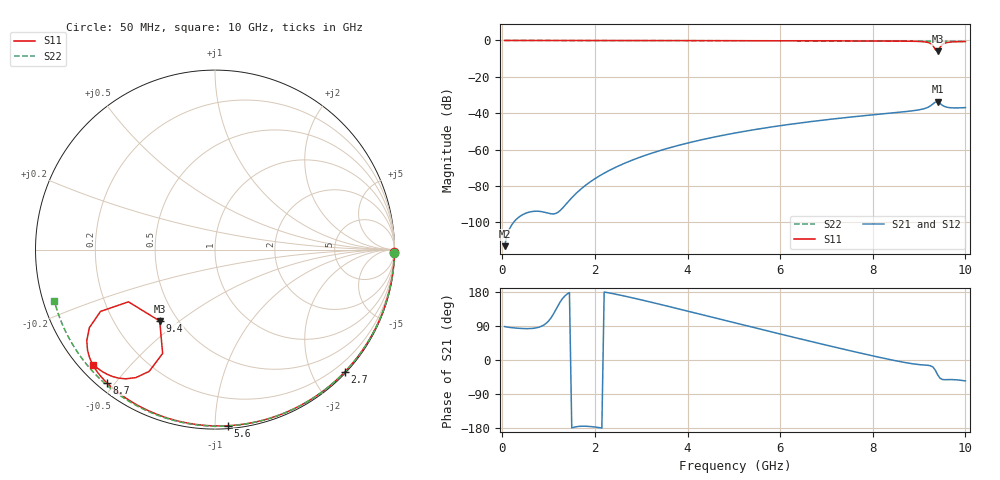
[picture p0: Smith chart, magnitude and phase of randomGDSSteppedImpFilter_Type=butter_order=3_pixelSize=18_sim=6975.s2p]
! freq	dB(S11)	phase(S11)	dB(S12)	phase(S12)
!  dB(S21)	phase(S21)	dB(S22)	phase(S22)
!S-par simulation data
#  GHz  S  DB  R 50
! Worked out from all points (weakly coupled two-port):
!   200 points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, 50 MHz to 10 GHz, reference 50 ohm
!   highest |S21| = -33.72 dB at 9.4 GHz (marker M1); lowest = -113.0 dB at 50 MHz (marker M2)
!   lowest |S11| = -6.0 dB at 9.4 GHz (marker M3), VSWR 3.03, Z = 20 - j21.3 ohm
!   |S11| at or under -10 dB: nowhere
!   |S22| runs from -0.5 to 0.0 dB; largest |S21 - S12| = 0
!   S11 on the Smith chart (normalised r, x): 50 MHz: open; 2.7 GHz: 0.02, -2.52; 5.6 GHz: 0.02, -1.08; 8.7 GHz: 0.03, -0.47; 9.4 GHz: 0.40, -0.43; 10 GHz: 0.04, -0.40
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0.05  -0.00 -0.8  -113.02 88.2  -113.02 88.2  -0.00 -0.9
0.85  -0.02 -13.9  -94.05 89.3  -94.05 89.3  -0.02 -15.8
1.75  -0.04 -28.4  -80.54 -174.6  -80.54 -174.6  -0.04 -32.2
2.25  -0.05 -36.3  -72.22 178.4  -72.22 178.4  -0.05 -41.1
2.7  -0.06 -43.3  -66.84 167.1  -66.84 167.1  -0.06 -49.0
3.4  -0.07 -54.0  -60.54 147.1  -60.54 147.1  -0.08 -61.1
4.15  -0.09 -65.1  -55.46 124.5  -55.46 124.5  -0.10 -73.6
5.05  -0.12 -78.1  -50.73 97.2  -50.73 97.2  -0.14 -88.0
5.6  -0.14 -85.8  -48.37 80.6  -48.37 80.6  -0.16 -96.6
6.7  -0.20 -100.8  -44.46 47.9  -44.46 47.9  -0.22 -113.3
8.35  -0.33 -123.5  -39.99 1.6  -39.99 1.6  -0.35 -137.6
8.7  -0.39 -129.2  -39.11 -6.8  -39.11 -6.8  -0.39 -142.7
9.05  -0.62 -137.6  -37.86 -12.7  -37.86 -12.7  -0.43 -147.9
9.25  -1.68 -148.1  -35.86 -15.3  -35.86 -15.3  -0.45 -150.8
9.3  -2.80 -151.6  -34.86 -18.7  -34.86 -18.7  -0.45 -151.6
9.35  -4.98 -148.9  -33.87 -26.8  -33.87 -26.8  -0.46 -152.3
9.4  -5.97 -127.7  -33.72 -38.8  -33.72 -38.8  -0.47 -153.1
9.45  -3.77 -116.8  -34.58 -47.9  -34.58 -47.9  -0.47 -153.8
9.5  -2.26 -118.4  -35.58 -51.4  -35.58 -51.4  -0.48 -154.6
9.55  -1.53 -121.7  -36.27 -52.0  -36.27 -52.0  -0.48 -155.3
9.7  -0.83 -129.0  -37.01 -51.6  -37.01 -51.6  -0.50 -157.6
10  -0.61 -136.6  -36.90 -55.2  -36.90 -55.2  -0.54 -162.2
